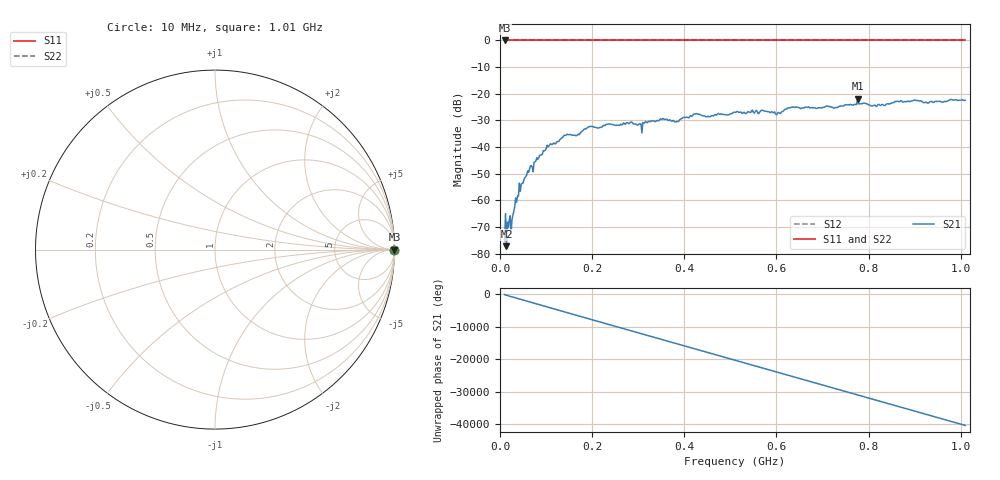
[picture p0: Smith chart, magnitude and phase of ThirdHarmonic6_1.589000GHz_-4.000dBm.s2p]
! 8/16/2025 6:55:21 PM
! C:\ANRITSUVNA\TEMP\TEMP.S2P
! CHANNEL.1
! TR.MEASUREMENT
! RAW.DATA
! RF.CORRECTION.OFF
! AVERAGING.OFF
! IF.BANDWIDTH: 5KHZ
! SWEEPTYPE:  FREQ.SWEEP(Linear)
! Reference Plane Port Info
! PORT:  PORT1  PORT2
! DISTANCE:  0  m  0  m
! TIME:  0  s  0  s
! PHASE.OFFSET:  0  deg.  0  deg.
! LOSS:  0  dB  0  dB
! REF.LOSS:  0  dB  0  dB
! REF.FREQ:  0  Hz  0  Hz
! Power Info
! POWER:  -20  dBm  -20  dBm
! EFF.POWER:  -20  dBm  -20  dBm
! SOURCE.ATTEN:  0  dB  0  dB
! TEST.ATTEN:  0  dB  0  dB
# GHZ S RI R 50.0
! FREQ.GHZ  S11RE  S11IM  S21RE  S21IM  S12RE  S12IM  S22RE  S22IM
!; PortSelection: Port_12
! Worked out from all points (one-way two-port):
!   501 points, 10 MHz to 1.01 GHz, reference 50 ohm
!   highest |S21| = -21.91 dB at 776 MHz (marker M1); lowest = -77.2 dB at 14 MHz (marker M2)
!   lowest |S11| = 0.0 dB at 10 MHz (marker M3)
!   |S11| at or under -10 dB: nowhere
!   |S22| runs from 0.0 to 0.0 dB; largest |S21 - S12| = 1.1
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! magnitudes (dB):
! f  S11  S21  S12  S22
! 10 MHz  0.0  -75.2  0.0  0.0
! 14 MHz  0.0  -77.2  0.0  0.0
! 28 MHz  0.0  -65.6  0.0  0.0
! 38 MHz  0.0  -58.4  0.0  0.0
! 46 MHz  0.0  -54.1  0.0  0.0
! 78 MHz  0.0  -45.2  0.0  0.0
! 106 MHz  0.0  -39.6  0.0  0.0
! 178 MHz  0.0  -34.1  0.0  0.0
! 196 MHz  0.0  -32.3  0.0  0.0
! 282 MHz  0.0  -30.9  0.0  0.0
! 304 MHz  0.0  -31.3  0.0  0.0
! 344 MHz  0.0  -30.2  0.0  0.0
! 384 MHz  0.0  -30.4  0.0  0.0
! 424 MHz  0.0  -27.6  0.0  0.0
! 452 MHz  0.0  -28.4  0.0  0.0
! 510 MHz  0.0  -26.9  0.0  0.0
! 602 MHz  0.0  -27.3  0.0  0.0
! 632 MHz  0.0  -25.1  0.0  0.0
! 678 MHz  0.0  -25.3  0.0  0.0
! 776 MHz  0.0  -21.9  0.0  0.0
! 844 MHz  0.0  -23.8  0.0  0.0
! 1.01 GHz  0.0  -22.5  0.0  0.0
